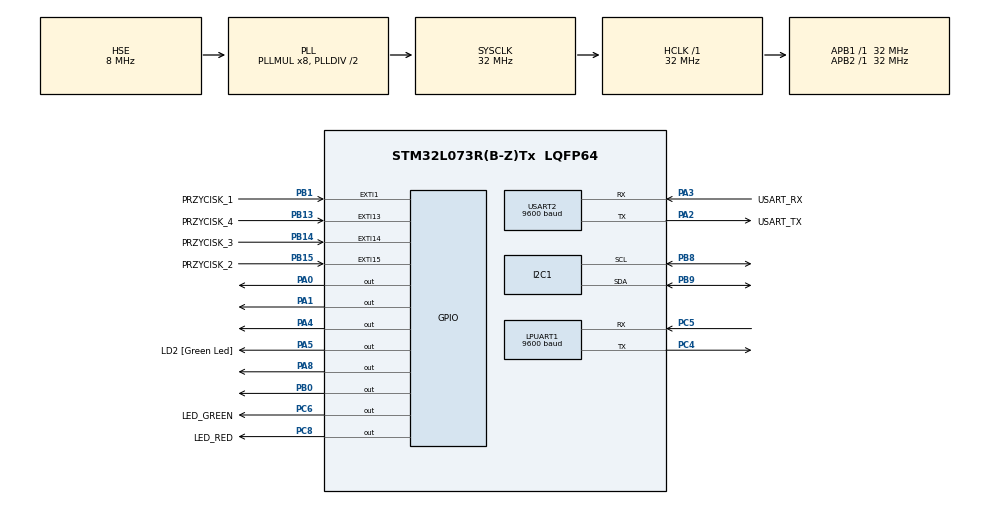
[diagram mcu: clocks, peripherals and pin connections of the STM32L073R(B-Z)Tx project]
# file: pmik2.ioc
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I2C1.Timing=0x00707CBB
LPUART1.BaudRate=9600
Mcu.Family=STM32L0
Mcu.Name=STM32L073R(B-Z)Tx
Mcu.Package=LQFP64
NVIC.EXTI4_15_IRQn=true\:0\:0\:false\:false\:true\:true\:true\:true
PA0.Signal=GPIO_Output
PA1.Signal=GPIO_Output
PA13.GPIO_Label=TMS
PA13.Mode=Serial_Wire
PA13.Signal=SYS_SWDIO
PA14.GPIO_Label=TCK
PA14.Mode=Serial_Wire
PA14.Signal=SYS_SWCLK
PA2.GPIO_Label=USART_TX
PA2.Mode=Asynchronous
PA2.Signal=USART2_TX
PA3.GPIO_Label=USART_RX
PA3.Mode=Asynchronous
PA3.Signal=USART2_RX
PA4.Signal=GPIO_Output
PA5.GPIO_Label=LD2 [Green Led]
PA5.GPIO_PuPd=GPIO_NOPULL
PA5.Signal=GPIO_Output
PA8.Signal=GPIO_Output
PB0.Signal=GPIO_Output
PB1.GPIO_Label=PRZYCISK_1
PB1.Signal=GPXTI1
PB13.GPIO_Label=PRZYCISK_4
PB13.Signal=GPXTI13
PB14.GPIO_Label=PRZYCISK_3
PB14.Signal=GPXTI14
PB15.GPIO_Label=PRZYCISK_2
PB15.Signal=GPXTI15
PB8.Mode=I2C
PB8.Signal=I2C1_SCL
PB9.Mode=I2C
PB9.Signal=I2C1_SDA
PC14-OSC32_IN.Mode=LSE-External-Oscillator
PC14-OSC32_IN.Signal=RCC_OSC32_IN
PC15-OSC32_OUT.Mode=LSE-External-Oscillator
PC15-OSC32_OUT.Signal=RCC_OSC32_OUT
PC4.Mode=Asynchronous
PC4.Signal=LPUART1_TX
PC5.Mode=Asynchronous
PC5.Signal=LPUART1_RX
PC6.GPIO_Label=LED_GREEN
PC6.Signal=GPIO_Output
PC8.GPIO_Label=LED_RED
PC8.Signal=GPIO_Output
PH0-OSC_IN.GPIO_Label=MCO
PH0-OSC_IN.Mode=HSE-External-Clock-Source
PH0-OSC_IN.Signal=RCC_OSC_IN
ProjectManager.HeapSize=0x200
ProjectManager.StackSize=0x400
ProjectManager.TargetToolchain=STM32CubeIDE
RCC.AHBFreq_Value=32000000
RCC.APB1Freq_Value=32000000
RCC.APB1TimFreq_Value=32000000
RCC.APB2Freq_Value=32000000
RCC.APB2TimFreq_Value=32000000
RCC.HCLKFreq_Value=32000000
RCC.HSE_VALUE=8000000
RCC.HSI16_VALUE=16000000
RCC.HSI48_VALUE=48000000
RCC.HSI_VALUE=16000000
RCC.MSI_VALUE=2097000
RCC.PLLMUL=RCC_PLLMUL_8
RCC.PLLSourceVirtual=RCC_PLLSOURCE_HSE
RCC.SYSCLKFreq_VALUE=32000000
RCC.SYSCLKSource=RCC_SYSCLKSOURCE_PLLCLK
RCC.VCOOutputFreq_Value=64000000
RTC.Date=13
RTC.Hours=10
RTC.Minutes=27
RTC.Month=RTC_MONTH_JUNE
RTC.WeekDay=RTC_WEEKDAY_TUESDAY
TIM3.Prescaler=32000 - 1
USART2.BaudRate=9600
USART2.VirtualMode-Asynchronous=VM_ASYNC
VP_RTC_VS_RTC_Activate.Mode=RTC_Enabled
VP_RTC_VS_RTC_Calendar.Mode=RTC_Calendar
VP_TIM3_VS_ClockSourceINT.Mode=Internal
board=NUCLEO-L073RZ

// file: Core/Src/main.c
/* USER CODE BEGIN Header */
/**
 ******************************************************************************
 * @file           	: main.c
 * @brief          	: Main program body
 * @authors			: Anna Twarowska
 * @title			: infusion_syringe_pump
 * @hardware		: STM32NUCLEO-L073RZ, LCD 16×2 + PCF8574, stepper linear motor + TB6612,
 * 				  keys, Bluetooth HC-06 - working with Serial Bluetooth Terminal smartphone app
 * @description	: This project's aim is to provide a software for stepper motors
 * 				  control module that can be used in infusion pumps.
 * @functions 		: menu() - this function allows to move through the elements
 * 				  of the structure representing menu shown on the display
 * 				  according to order provided by a user who uses keys for communication
 ******************************************************************************
 * @attention
 *
 * Copyright (c) 2023 STMicroelectronics.
 * All rights reserved.
 *
 * This software is licensed under terms that can be found in the LICENSE file
 * in the root directory of this software component.
 * If no LICENSE file comes with this software, it is provided AS-IS.
 *
 ******************************************************************************
 */
/* USER CODE END Header */
#include "main.h"

/* USER CODE BEGIN Includes */
#include "stdio.h"
#include <string.h>
#include "i2c-lcd.h"
#include "menu2.h"
#include "motor.h"
#include "stepper.h"
/* USER CODE END Includes */

I2C_HandleTypeDef hi2c1;

UART_HandleTypeDef hlpuart1;
UART_HandleTypeDef huart2;

RTC_HandleTypeDef hrtc;

TIM_HandleTypeDef htim3;

void SystemClock_Config(void);
static void MX_GPIO_Init(void);
static void MX_USART2_UART_Init(void);
static void MX_TIM3_Init(void);
static void MX_RTC_Init(void);
static void MX_LPUART1_UART_Init(void);
static void MX_I2C1_Init(void);

/* USER CODE BEGIN 0 */
//for lcd
int row=0;
int col=0;

void UART_Transmit(uint8_t* data, uint16_t len)
{
	HAL_UART_Transmit(&hlpuart1, data, len, HAL_MAX_DELAY);
}

/* USER CODE END 0 */

int main(void)
{

  /* MCU Configuration--------------------------------------------------------*/

  /* Reset of all peripherals, Initializes the Flash interface and the Systick. */
  HAL_Init();

  /* USER CODE BEGIN Init */

	//HAL_TIM_Base_Start(&htim3);
  /* USER CODE END Init */

  /* Configure the system clock */
  SystemClock_Config();

  /* Initialize all configured peripherals */
  MX_GPIO_Init();
  MX_USART2_UART_Init();
  MX_TIM3_Init();
  MX_RTC_Init();
  MX_LPUART1_UART_Init();
  MX_I2C1_Init();
  /* USER CODE BEGIN 2 */
	HAL_GPIO_WritePin(GPIOA, GPIO_PIN_8, 1);
	lcd_init();
	lcd_put_cur(row,col);
	lcd_clear ();
	menuInit(); // display first screen
  /* USER CODE END 2 */

  /* Infinite loop */
  /* USER CODE BEGIN WHILE */
	while (1)
	{
		menu();
    /* USER CODE END WHILE */

	}
}

void SystemClock_Config(void)
{
  RCC_OscInitTypeDef RCC_OscInitStruct = {0};
  RCC_ClkInitTypeDef RCC_ClkInitStruct = {0};
  RCC_PeriphCLKInitTypeDef PeriphClkInit = {0};

  /** Configure the main internal regulator output voltage
  */
  __HAL_PWR_VOLTAGESCALING_CONFIG(PWR_REGULATOR_VOLTAGE_SCALE1);

  /** Initializes the RCC Oscillators according to the specified parameters
  * in the RCC_OscInitTypeDef structure.
  */
  RCC_OscInitStruct.OscillatorType = RCC_OSCILLATORTYPE_LSI|RCC_OSCILLATORTYPE_HSE;
  RCC_OscInitStruct.HSEState = RCC_HSE_BYPASS;
  RCC_OscInitStruct.LSIState = RCC_LSI_ON;
  RCC_OscInitStruct.PLL.PLLState = RCC_PLL_ON;
  RCC_OscInitStruct.PLL.PLLSource = RCC_PLLSOURCE_HSE;
  RCC_OscInitStruct.PLL.PLLMUL = RCC_PLLMUL_8;
  RCC_OscInitStruct.PLL.PLLDIV = RCC_PLLDIV_2;
  if (HAL_RCC_OscConfig(&RCC_OscInitStruct) != HAL_OK)
  {
    Error_Handler();
  }

  /** Initializes the CPU, AHB and APB buses clocks
  */
  RCC_ClkInitStruct.ClockType = RCC_CLOCKTYPE_HCLK|RCC_CLOCKTYPE_SYSCLK
                              |RCC_CLOCKTYPE_PCLK1|RCC_CLOCKTYPE_PCLK2;
  RCC_ClkInitStruct.SYSCLKSource = RCC_SYSCLKSOURCE_PLLCLK;
  RCC_ClkInitStruct.AHBCLKDivider = RCC_SYSCLK_DIV1;
  RCC_ClkInitStruct.APB1CLKDivider = RCC_HCLK_DIV1;
  RCC_ClkInitStruct.APB2CLKDivider = RCC_HCLK_DIV1;

  if (HAL_RCC_ClockConfig(&RCC_ClkInitStruct, FLASH_LATENCY_1) != HAL_OK)
  {
    Error_Handler();
  }
  PeriphClkInit.PeriphClockSelection = RCC_PERIPHCLK_USART2|RCC_PERIPHCLK_LPUART1
                              |RCC_PERIPHCLK_I2C1|RCC_PERIPHCLK_RTC;
  PeriphClkInit.Usart2ClockSelection = RCC_USART2CLKSOURCE_PCLK1;
  PeriphClkInit.Lpuart1ClockSelection = RCC_LPUART1CLKSOURCE_PCLK1;
  PeriphClkInit.I2c1ClockSelection = RCC_I2C1CLKSOURCE_PCLK1;
  PeriphClkInit.RTCClockSelection = RCC_RTCCLKSOURCE_LSI;
  if (HAL_RCCEx_PeriphCLKConfig(&PeriphClkInit) != HAL_OK)
  {
    Error_Handler();
  }
}

static void MX_I2C1_Init(void)
{

  hi2c1.Instance = I2C1;
  hi2c1.Init.Timing = 0x00707CBB;
  hi2c1.Init.OwnAddress1 = 0;
  hi2c1.Init.AddressingMode = I2C_ADDRESSINGMODE_7BIT;
  hi2c1.Init.DualAddressMode = I2C_DUALADDRESS_DISABLE;
  hi2c1.Init.OwnAddress2 = 0;
  hi2c1.Init.OwnAddress2Masks = I2C_OA2_NOMASK;
  hi2c1.Init.GeneralCallMode = I2C_GENERALCALL_DISABLE;
  hi2c1.Init.NoStretchMode = I2C_NOSTRETCH_DISABLE;
  if (HAL_I2C_Init(&hi2c1) != HAL_OK)
  {
    Error_Handler();
  }

  /** Configure Analogue filter
  */
  if (HAL_I2CEx_ConfigAnalogFilter(&hi2c1, I2C_ANALOGFILTER_ENABLE) != HAL_OK)
  {
    Error_Handler();
  }

  /** Configure Digital filter
  */
  if (HAL_I2CEx_ConfigDigitalFilter(&hi2c1, 0) != HAL_OK)
  {
    Error_Handler();
  }

}

static void MX_LPUART1_UART_Init(void)
{

  hlpuart1.Instance = LPUART1;
  hlpuart1.Init.BaudRate = 9600;
  hlpuart1.Init.WordLength = UART_WORDLENGTH_7B;
  hlpuart1.Init.StopBits = UART_STOPBITS_1;
  hlpuart1.Init.Parity = UART_PARITY_NONE;
  hlpuart1.Init.Mode = UART_MODE_TX_RX;
  hlpuart1.Init.HwFlowCtl = UART_HWCONTROL_NONE;
  hlpuart1.Init.OneBitSampling = UART_ONE_BIT_SAMPLE_DISABLE;
  hlpuart1.AdvancedInit.AdvFeatureInit = UART_ADVFEATURE_NO_INIT;
  if (HAL_UART_Init(&hlpuart1) != HAL_OK)
  {
    Error_Handler();
  }

}

static void MX_USART2_UART_Init(void)
{

  huart2.Instance = USART2;
  huart2.Init.BaudRate = 9600;
  huart2.Init.WordLength = UART_WORDLENGTH_8B;
  huart2.Init.StopBits = UART_STOPBITS_1;
  huart2.Init.Parity = UART_PARITY_NONE;
  huart2.Init.Mode = UART_MODE_TX_RX;
  huart2.Init.HwFlowCtl = UART_HWCONTROL_NONE;
  huart2.Init.OverSampling = UART_OVERSAMPLING_16;
  huart2.Init.OneBitSampling = UART_ONE_BIT_SAMPLE_DISABLE;
  huart2.AdvancedInit.AdvFeatureInit = UART_ADVFEATURE_NO_INIT;
  if (HAL_UART_Init(&huart2) != HAL_OK)
  {
    Error_Handler();
  }

}

static void MX_RTC_Init(void)
{

  RTC_TimeTypeDef sTime = {0};
  RTC_DateTypeDef sDate = {0};

  /** Initialize RTC Only
  */
  hrtc.Instance = RTC;
  hrtc.Init.HourFormat = RTC_HOURFORMAT_24;
  hrtc.Init.AsynchPrediv = 127;
  hrtc.Init.SynchPrediv = 255;
  hrtc.Init.OutPut = RTC_OUTPUT_DISABLE;
  hrtc.Init.OutPutRemap = RTC_OUTPUT_REMAP_NONE;
  hrtc.Init.OutPutPolarity = RTC_OUTPUT_POLARITY_HIGH;
  hrtc.Init.OutPutType = RTC_OUTPUT_TYPE_OPENDRAIN;
  if (HAL_RTC_Init(&hrtc) != HAL_OK)
  {
    Error_Handler();
  }

  /** Initialize RTC and set the Time and Date
  */
  sTime.Hours = 0x10;
  sTime.Minutes = 0x27;
  sTime.Seconds = 0x0;
  sTime.DayLightSaving = RTC_DAYLIGHTSAVING_NONE;
  sTime.StoreOperation = RTC_STOREOPERATION_RESET;
  if (HAL_RTC_SetTime(&hrtc, &sTime, RTC_FORMAT_BCD) != HAL_OK)
  {
    Error_Handler();
  }
  sDate.WeekDay = RTC_WEEKDAY_TUESDAY;
  sDate.Month = RTC_MONTH_JUNE;
  sDate.Date = 0x13;
  sDate.Year = 0x0;

  if (HAL_RTC_SetDate(&hrtc, &sDate, RTC_FORMAT_BCD) != HAL_OK)
  {
    Error_Handler();
  }

}

static void MX_TIM3_Init(void)
{

  TIM_ClockConfigTypeDef sClockSourceConfig = {0};
  TIM_MasterConfigTypeDef sMasterConfig = {0};

  htim3.Instance = TIM3;
  htim3.Init.Prescaler = 32000 - 1;
  htim3.Init.CounterMode = TIM_COUNTERMODE_UP;
  htim3.Init.Period = 65535;
  htim3.Init.ClockDivision = TIM_CLOCKDIVISION_DIV1;
  htim3.Init.AutoReloadPreload = TIM_AUTORELOAD_PRELOAD_DISABLE;
  if (HAL_TIM_Base_Init(&htim3) != HAL_OK)
  {
    Error_Handler();
  }
  sClockSourceConfig.ClockSource = TIM_CLOCKSOURCE_INTERNAL;
  if (HAL_TIM_ConfigClockSource(&htim3, &sClockSourceConfig) != HAL_OK)
  {
    Error_Handler();
  }
  sMasterConfig.MasterOutputTrigger = TIM_TRGO_RESET;
  sMasterConfig.MasterSlaveMode = TIM_MASTERSLAVEMODE_DISABLE;
  if (HAL_TIMEx_MasterConfigSynchronization(&htim3, &sMasterConfig) != HAL_OK)
  {
    Error_Handler();
  }

}

static void MX_GPIO_Init(void)
{
  GPIO_InitTypeDef GPIO_InitStruct = {0};

  /* GPIO Ports Clock Enable */
  __HAL_RCC_GPIOC_CLK_ENABLE();
  __HAL_RCC_GPIOH_CLK_ENABLE();
  __HAL_RCC_GPIOA_CLK_ENABLE();
  __HAL_RCC_GPIOB_CLK_ENABLE();

  /*Configure GPIO pin Output Level */
  HAL_GPIO_WritePin(GPIOA, GPIO_PIN_0|GPIO_PIN_1|GPIO_PIN_4|LD2_Pin
                          |GPIO_PIN_8, GPIO_PIN_RESET);

  /*Configure GPIO pin Output Level */
  HAL_GPIO_WritePin(GPIOB, GPIO_PIN_0, GPIO_PIN_RESET);

  /*Configure GPIO pin Output Level */
  HAL_GPIO_WritePin(GPIOC, LED_GREEN_Pin|LED_RED_Pin, GPIO_PIN_RESET);

  /*Configure GPIO pins : PA0 PA1 PA4 LD2_Pin
                           PA8 */
  GPIO_InitStruct.Pin = GPIO_PIN_0|GPIO_PIN_1|GPIO_PIN_4|LD2_Pin
                          |GPIO_PIN_8;
  GPIO_InitStruct.Mode = GPIO_MODE_OUTPUT_PP;
  GPIO_InitStruct.Pull = GPIO_NOPULL;
  GPIO_InitStruct.Speed = GPIO_SPEED_FREQ_LOW;
  HAL_GPIO_Init(GPIOA, &GPIO_InitStruct);

  /*Configure GPIO pin : PB0 */
  GPIO_InitStruct.Pin = GPIO_PIN_0;
  GPIO_InitStruct.Mode = GPIO_MODE_OUTPUT_PP;
  GPIO_InitStruct.Pull = GPIO_NOPULL;
  GPIO_InitStruct.Speed = GPIO_SPEED_FREQ_LOW;
  HAL_GPIO_Init(GPIOB, &GPIO_InitStruct);

  /*Configure GPIO pins : PRZYCISK_1_Pin PRZYCISK_4_Pin PRZYCISK_3_Pin PRZYCISK_2_Pin */
  GPIO_InitStruct.Pin = PRZYCISK_1_Pin|PRZYCISK_4_Pin|PRZYCISK_3_Pin|PRZYCISK_2_Pin;
  GPIO_InitStruct.Mode = GPIO_MODE_IT_RISING;
  GPIO_InitStruct.Pull = GPIO_NOPULL;
  HAL_GPIO_Init(GPIOB, &GPIO_InitStruct);

  /*Configure GPIO pins : LED_GREEN_Pin LED_RED_Pin */
  GPIO_InitStruct.Pin = LED_GREEN_Pin|LED_RED_Pin;
  GPIO_InitStruct.Mode = GPIO_MODE_OUTPUT_PP;
  GPIO_InitStruct.Pull = GPIO_NOPULL;
  GPIO_InitStruct.Speed = GPIO_SPEED_FREQ_LOW;
  HAL_GPIO_Init(GPIOC, &GPIO_InitStruct);

  /* EXTI interrupt init*/
  HAL_NVIC_SetPriority(EXTI4_15_IRQn, 0, 0);
  HAL_NVIC_EnableIRQ(EXTI4_15_IRQn);

}

/* USER CODE BEGIN 4 */
void RTC_ReadDateTime(RTC_DateTypeDef *date, RTC_TimeTypeDef *time) //read time and date
{
	HAL_RTC_GetDate(&hrtc, date, RTC_FORMAT_BIN);
	HAL_RTC_GetTime(&hrtc, time, RTC_FORMAT_BIN);
}

/* USER CODE END 4 */

void Error_Handler(void)
{
	__disable_irq();
	while (1)
	{
	}
}
